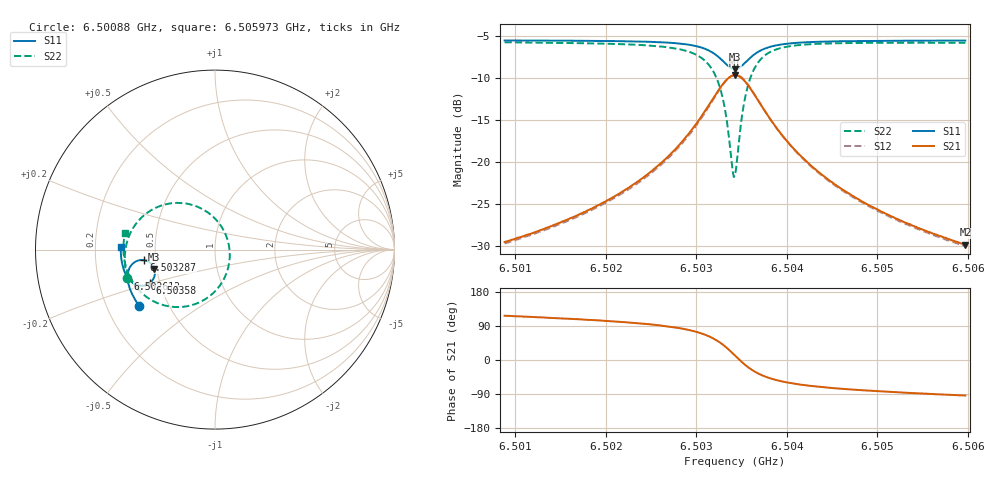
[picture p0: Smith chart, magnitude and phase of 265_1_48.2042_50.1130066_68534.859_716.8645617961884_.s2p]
#  HZ  S  RI  R  50.00
! Rohde & Schwarz Vector Network Analyzer
! Rohde-Schwarz,ZNB20-2Port,1311601062101988,3.16
! Created: UTC 3/20/2024, 11:47:55 AM
! freq[Hz]  re:S11  im:S11  re:S21  im:S21  re:S12  im:S12  re:S22  im:S22
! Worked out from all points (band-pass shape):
!   401 points, 6.50088 GHz to 6.505973 GHz, reference 50 ohm
!   highest |S21| = -9.71 dB at 6.503427 GHz (marker M1); lowest = -29.9 dB at 6.505973 GHz (marker M2)
!   |S21| within 3 dB of the highest: 6.503172 GHz to 6.503681 GHz (509.2 kHz wide, 0.00783 % of centre)
!   lowest |S11| = -9.0 dB at 6.503427 GHz (marker M3), VSWR 2.10, Z = 24.3 - j6.01 ohm
!   |S11| at or under -10 dB: nowhere
!   |S22| runs from -21.8 to -5.8 dB; largest |S21 - S12| = 0.011
!   S11 on the Smith chart (normalised r, x): 6.50088 GHz: 0.34, -0.30; 6.502612 GHz: 0.33, -0.15; 6.503287 GHz: 0.43, -0.06; 6.50358 GHz: 0.44, -0.20; 6.505973 GHz: 0.31, +0.01
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6.5008805e9  -0.423 -0.3136  -0.015 0.0296  -0.0133 0.0297  -0.4878 -0.1604
6.5017335e9  -0.4601 -0.2511  -0.0144 0.047  -0.0121 0.0467  -0.5022 -0.0708
6.5021791e9  -0.4761 -0.2122  -0.0119 0.065  -0.00891 0.064  -0.5002 -0.00902
6.5025866e9  -0.4863 -0.168  -0.00258 0.0955  0.0009 0.0932  -0.4808 0.0703
6.502612e9  -0.4867 -0.1648  -0.00145 0.0982  0.00211 0.0957  -0.4784 0.0766
6.5028412e9  -0.4855 -0.1313  0.0164 0.13  0.0202 0.1262  -0.4407 0.1431
6.5030194e9  -0.4739 -0.098  0.0511 0.1662  0.0544 0.1609  -0.372 0.2091
6.503185e9  -0.4389 -0.0651  0.1292 0.1995  0.1303 0.193  -0.2289 0.2596
6.5032868e9  -0.3961 -0.0584  0.2145 0.1902  0.2148 0.1849  -0.0802 0.2308
6.5033377e9  -0.3707 -0.0672  0.2628 0.1621  0.2636 0.1575  -0.000128 0.173
6.5034014e9  -0.3441 -0.0937  0.3102 0.0984  0.3127 0.0934  0.0711 0.0507
6.5034269e9  -0.3379 -0.1082  0.3202 0.0662  0.3233 0.0605  0.0818 -0.00923
6.5034523e9  -0.3349 -0.1237  0.3238 0.0329  0.3272 0.0259  0.0797 -0.0703
6.503516e9  -0.3421 -0.1608  0.3056 -0.0445  0.3077 -0.0545  0.0241 -0.2044
6.5035797e9  -0.3632 -0.1864  0.263 -0.0981  0.2617 -0.1093  -0.072 -0.2864
6.5036815e9  -0.4024 -0.2014  0.1887 -0.134  0.1834 -0.1434  -0.2211 -0.3201
6.503847e9  -0.4483 -0.1917  0.1077 -0.1308  0.1007 -0.1359  -0.3672 -0.2735
6.5040253e9  -0.4756 -0.1703  0.0635 -0.1111  0.0573 -0.1133  -0.4386 -0.2089
6.5042799e9  -0.4961 -0.1403  0.0338 -0.087  0.0291 -0.0875  -0.4818 -0.137
6.5046746e9  -0.5119 -0.0996  0.0145 -0.0634  0.0111 -0.063  -0.5044 -0.0604
6.505133e9  -0.5211 -0.0574  0.00499 -0.0476  0.00274 -0.0469  -0.51 0.00337
6.5059733e9  -0.5259 0.0135  -0.00205 -0.0319  -0.00341 -0.0312  -0.502 0.0913
